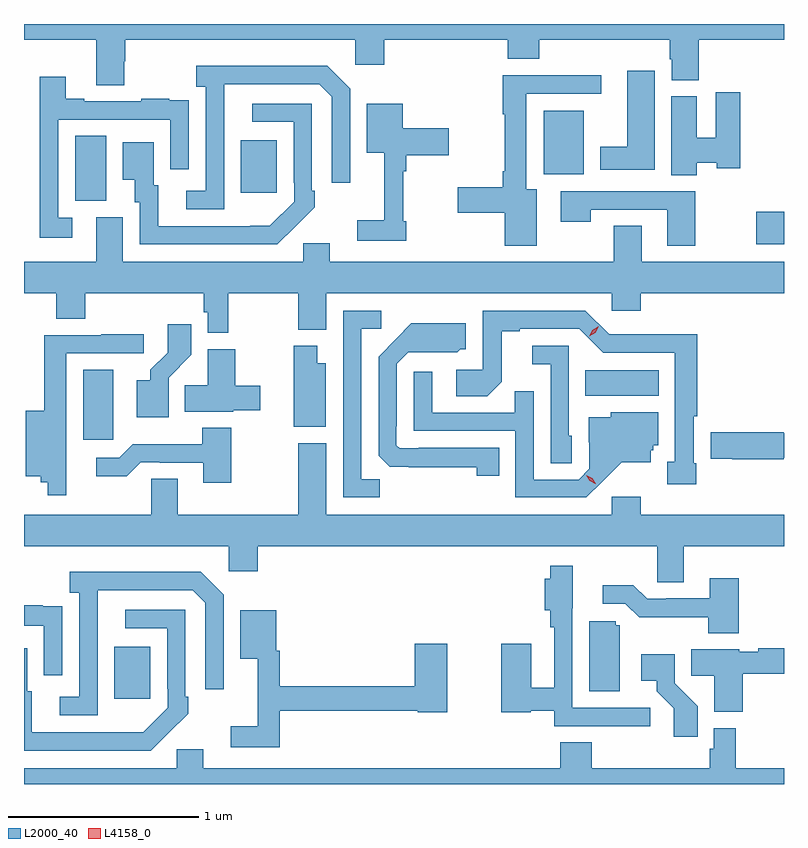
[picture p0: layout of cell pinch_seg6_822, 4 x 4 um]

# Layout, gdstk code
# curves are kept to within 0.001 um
import gdstk
lib = gdstk.Library(unit=1e-6, precision=1e-09)
def R(c, l, rs):  # rectangles x0, y0, x1, y1
    for r in rs: c.add(gdstk.rectangle(r[:2], r[2:], *l))
def P(c, l, *ps):  # polygons
    for p in ps: c.add(gdstk.Polygon(p, *l))
L2000_40 = (2000, 40)
L4158_0 = (4158, 0)

pinch_seg6_822 = lib.new_cell('pinch_seg6_822')
R(pinch_seg6_822, L2000_40, [(141.773,987.825,141.961,988.099), (141.608,989.187,141.766,989.557), (144.25,989.42,144.637,989.554), (145.152,990.218,145.297,990.389), (141.566,990.445,141.73,990.788), (142.439,990.489,142.627,990.763), (144.032,990.584,144.244,990.919)])
P(pinch_seg6_822, L2000_40, [(141.825,991.179),(141.83,991.179),(141.83,991.292),(143.04,991.292),(143.04,991.161),(143.192,991.161),(143.192,991.292),(143.843,991.292),(143.843,991.193),(144.008,991.193),(144.008,991.292),(144.695,991.292),(144.695,991.191),(144.707,991.191),(144.707,991.081),(144.848,991.081),(144.848,991.292),(145.297,991.292),(145.297,991.376),(141.297,991.376),(141.297,991.292),(141.677,991.292),(141.677,991.054),(141.825,991.054)],
  [(142.35,990.859),(142.351,991.059),(142.851,991.059),(142.917,990.993),(142.917,990.54),(143.013,990.54),(143.013,991.035),(142.892,991.156),(142.203,991.156),(142.203,991.046),(142.254,991.046),(142.254,990.498),(142.152,990.498),(142.152,990.402),(142.35,990.402)],
  [(144.616,991.129),(144.473,991.129),(144.473,990.73),(144.329,990.73),(144.329,990.608),(144.616,990.608)],
  [(143.995,990.505),(143.941,990.505),(143.941,991.008),(144.334,991.008),(144.334,991.106),(143.816,991.106),(143.816,990.901),(143.828,990.901),(143.828,990.601),(143.816,990.601),(143.816,990.518),(143.58,990.518),(143.58,990.383),(143.828,990.383),(143.828,990.21),(143.995,990.21)],
  [(141.55,990.357),(141.477,990.357),(141.477,990.873),(142.068,990.873),(142.068,990.612),(142.164,990.612),(142.164,990.866),(142.163,990.866),(142.163,990.975),(142.061,990.975),(142.061,990.982),(141.913,990.982),(141.913,990.969),(141.613,990.969),(141.613,990.982),(141.517,990.982),(141.517,991.099),(141.381,991.099),(141.381,990.252),(141.55,990.252)],
  [(144.838,990.647),(144.942,990.647),(144.942,990.617),(145.068,990.617),(145.068,991.018),(144.938,991.018),(144.938,990.777),(144.838,990.777),(144.838,990.996),(144.704,990.996),(144.704,990.58),(144.838,990.58)],
  [(142.721,990.307),(142.722,990.306),(142.827,990.411),(142.827,990.499),(142.812,990.499),(142.812,990.957),(142.497,990.957),(142.497,990.861),(142.716,990.861),(142.716,990.541),(142.719,990.541),(142.719,990.441),(142.591,990.313),(142.003,990.312),(142.003,990.528),(141.979,990.528),(141.979,990.754),(141.818,990.754),(141.818,990.557),(141.881,990.557),(141.881,990.438),(141.906,990.438),(141.906,990.216),(142.63,990.216)],
  [(143.309,990.337),(143.294,990.337),(143.294,990.602),(143.309,990.602),(143.309,990.686),(143.533,990.686),(143.533,990.828),(143.29,990.828),(143.29,990.955),(143.102,990.955),(143.102,990.698),(143.192,990.698),(143.192,990.343),(143.052,990.343),(143.052,990.234),(143.309,990.234)],
  [(144.831,990.495),(144.123,990.495),(144.123,990.336),(144.279,990.336),(144.279,990.399),(144.683,990.399),(144.683,990.21),(144.831,990.21)],
  [(142.372,989.96),(142.741,989.96),(142.741,989.768),(142.888,989.768),(142.888,989.96),(144.39,989.96),(144.39,989.867),(144.542,989.867),(144.542,989.96),(145.297,989.96),(145.297,990.124),(144.547,990.124),(144.547,990.314),(144.4,990.314),(144.4,990.124),(142.906,990.124),(142.906,990.222),(142.767,990.222),(142.767,990.124),(141.817,990.124),(141.817,990.36),(141.677,990.36),(141.677,990.124),(141.297,990.124),(141.297,989.96),(141.467,989.96),(141.467,989.824),(141.62,989.824),(141.62,989.96),(142.243,989.96),(142.243,989.859),(142.263,989.859),(142.263,989.75),(142.372,989.75)],
  [(143.169,988.979),(143.073,988.979),(143.073,989.772),(143.176,989.772),(143.176,989.868),(142.977,989.868),(142.977,988.884),(143.169,988.884)],
  [(144.834,989.065),(144.823,989.065),(144.823,989.311),(144.841,989.311),(144.841,989.744),(144.6,989.744),(144.6,989.742),(144.378,989.742),(144.252,989.868),(143.712,989.868),(143.712,989.556),(143.571,989.556),(143.571,989.416),(143.735,989.416),(143.811,989.492),(143.811,989.76),(143.905,989.76),(143.905,989.772),(144.219,989.772),(144.345,989.646),(144.722,989.646),(144.722,989.073),(144.683,989.073),(144.683,988.953),(144.834,988.953)],
  [(143.798,989.145),(143.374,989.145),(143.374,989.142),(143.274,989.142),(143.256,989.16),(143.256,989.26),(143.259,989.26),(143.259,989.589),(143.319,989.649),(143.576,989.648),(143.592,989.664),(143.623,989.664),(143.623,989.8),(143.335,989.8),(143.163,989.626),(143.163,989.104),(143.222,989.045),(143.68,989.044),(143.68,988.998),(143.798,988.998)],
  [(142.059,989.515),(142.178,989.634),(142.178,989.797),(142.053,989.797),(142.053,989.645),(141.962,989.555),(141.962,989.5),(141.89,989.5),(141.89,989.307),(142.059,989.307)],
  [(141.519,989.643),(141.928,989.643),(141.928,989.742),(141.703,989.742),(141.703,989.739),(141.403,989.739),(141.403,989.341),(141.305,989.341),(141.305,988.997),(141.386,988.997),(141.386,988.964),(141.421,988.964),(141.421,988.896),(141.519,988.896)],
  [(142.885,989.59),(142.84,989.59),(142.84,989.683),(142.718,989.683),(142.718,989.255),(142.885,989.255)],
  [(144.18,989.208),(144.165,989.208),(144.165,989.682),(143.973,989.682),(143.973,989.585),(144.069,989.585),(144.069,989.065),(144.18,989.065)],
  [(142.398,989.342),(142.54,989.342),(142.54,989.472),(142.41,989.472),(142.41,989.665),(142.265,989.665),(142.265,989.474),(142.144,989.474),(142.144,989.336),(142.398,989.336)],
  [(144.34,988.967),(144.443,989.069),(144.595,989.069),(144.595,989.133),(144.609,989.133),(144.609,989.16),(144.634,989.16),(144.634,989.332),(144.384,989.332),(144.384,989.305),(144.269,989.305),(144.269,989.176),(144.273,989.176),(144.273,989.034),(144.216,988.977),(143.979,988.977),(143.979,989.444),(143.881,989.444),(143.881,989.331),(143.445,989.331),(143.445,989.545),(143.349,989.545),(143.349,989.235),(143.883,989.235),(143.883,988.884),(144.256,988.884)],
  [(142.389,989.251),(142.234,989.251),(142.234,989.165),(141.869,989.165),(141.798,989.094),(141.678,989.094),(141.678,988.997),(141.839,988.997),(141.912,989.07),(142.012,989.07),(142.012,989.067),(142.241,989.067),(142.241,988.962),(142.389,988.962)],
  [(145.296,989.094),(145.297,989.094),(145.297,989.222),(145.296,989.222),(145.296,989.228),(144.912,989.228),(144.912,989.089),(145.024,989.089),(145.024,989.086),(145.296,989.086)],
  [(144.769,988.628),(145.297,988.628),(145.297,988.792),(144.542,988.792),(144.542,988.888),(144.39,988.888),(144.39,988.792),(142.888,988.792),(142.888,989.17),(142.741,989.17),(142.741,988.792),(142.105,988.792),(142.105,988.982),(141.966,988.982),(141.966,988.792),(141.297,988.792),(141.297,988.628),(142.374,988.628),(142.374,988.497),(142.526,988.497),(142.526,988.628),(144.63,988.628),(144.63,988.438),(144.769,988.438)],
  [(144.592,987.777),(144.183,987.777),(144.183,988.302),(144.184,988.302),(144.184,988.525),(144.067,988.525),(144.067,988.456),(144.038,988.456),(144.038,988.291),(144.067,988.291),(144.067,988.202),(144.087,988.202),(144.087,987.883),(143.968,987.883),(143.968,988.114),(143.81,988.114),(143.81,987.754),(143.964,987.754),(143.964,987.762),(144.087,987.762),(144.087,987.681),(144.367,987.681),(144.367,987.679),(144.592,987.679)],
  [(141.684,988.195),(141.685,988.395),(142.185,988.395),(142.251,988.329),(142.251,987.876),(142.347,987.876),(142.347,988.371),(142.226,988.492),(141.537,988.492),(141.537,988.382),(141.588,988.382),(141.588,987.834),(141.486,987.834),(141.486,987.738),(141.684,987.738)],
  [(145.058,988.459),(144.905,988.459),(144.905,988.353),(144.676,988.353),(144.676,988.35),(144.576,988.35),(144.503,988.423),(144.342,988.423),(144.342,988.326),(144.462,988.326),(144.535,988.253),(144.898,988.254),(144.898,988.169),(145.058,988.169)],
  [(141.498,988.202),(141.497,988.202),(141.497,988.311),(141.395,988.311),(141.395,988.318),(141.297,988.318),(141.297,988.209),(141.402,988.209),(141.402,987.948),(141.498,987.948)],
  [(142.055,987.643),(142.056,987.642),(142.161,987.747),(142.161,987.835),(142.146,987.835),(142.146,988.293),(141.831,988.293),(141.831,988.197),(142.05,988.197),(142.05,987.877),(142.053,987.877),(142.053,987.777),(141.925,987.649),(141.337,987.648),(141.337,987.864),(141.313,987.864),(141.313,988.09),(141.297,988.09),(141.297,987.552),(141.964,987.552)],
  [(142.643,987.762),(143.37,987.762),(143.37,987.754),(143.524,987.754),(143.524,988.114),(143.354,988.114),(143.354,987.89),(142.643,987.89),(142.643,988.077),(142.624,988.077),(142.624,988.291),(142.436,988.291),(142.436,988.034),(142.526,988.034),(142.526,987.679),(142.386,987.679),(142.386,987.57),(142.643,987.57)],
  [(144.433,988.212),(144.411,988.212),(144.411,988.233),(144.272,988.233),(144.272,987.864),(144.433,987.864)],
  [(145.079,987.955),(145.297,987.955),(145.297,988.091),(145.162,988.091),(145.162,988.071),(145.062,988.071),(145.062,988.084),(144.808,988.084),(144.808,987.946),(144.929,987.946),(144.929,987.755),(145.079,987.755)],
  [(144.842,987.786),(144.723,987.905),(144.723,988.06),(144.546,988.06),(144.546,987.92),(144.626,987.92),(144.626,987.865),(144.717,987.775),(144.717,987.624),(144.842,987.624)],
  [(145.297,987.46),(145.043,987.46),(145.043,987.67),(144.927,987.67),(144.927,987.561),(144.907,987.561),(144.907,987.46),(144.284,987.46),(144.284,987.596),(144.119,987.596),(144.119,987.46),(142.24,987.46),(142.24,987.558),(142.101,987.558),(142.101,987.46),(141.297,987.46),(141.297,987.376),(145.297,987.376)])
P(pinch_seg6_822, L4158_0, [(144.272,989.733),(144.272,989.733),(144.289,989.765),(144.321,989.784),(144.321,989.784),(144.321,989.784),(144.304,989.751),(144.272,989.733)],
  [(144.304,988.956),(144.274,988.971),(144.257,989.001),(144.257,989.001),(144.257,989.001),(144.288,988.986),(144.305,988.956),(144.305,988.956)])

lib.write_gds('pinch_seg6_822.gds')
